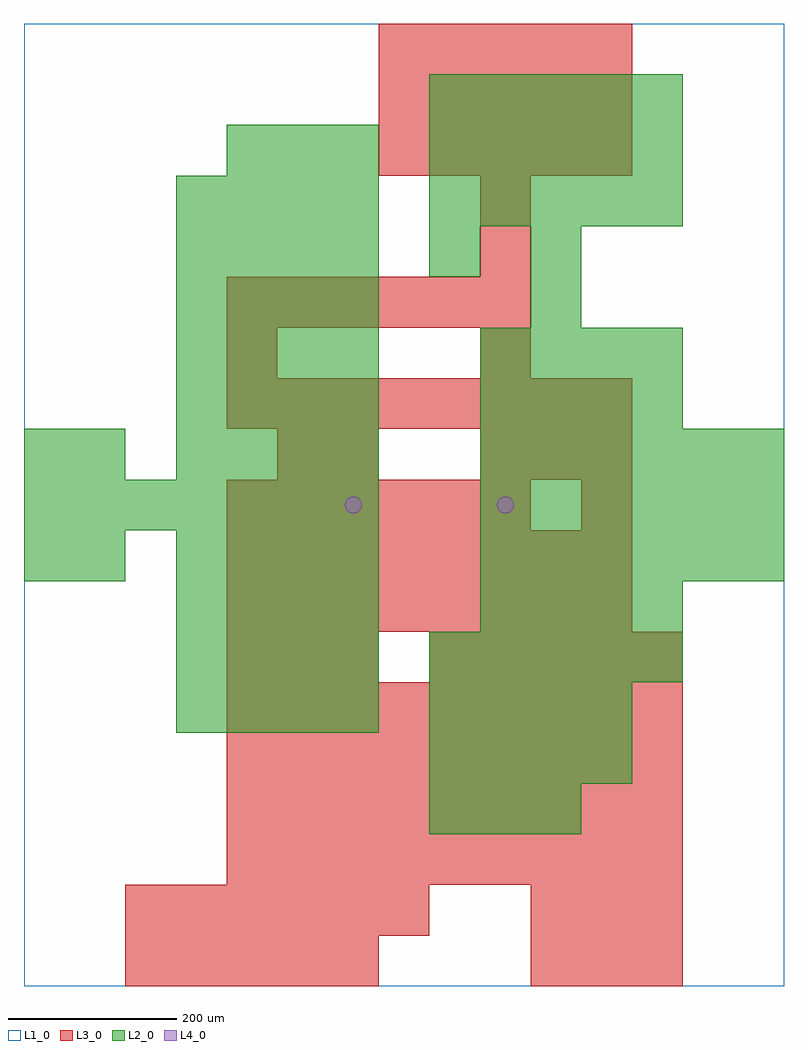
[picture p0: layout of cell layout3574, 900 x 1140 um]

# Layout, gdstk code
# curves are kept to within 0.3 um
import gdstk
lib = gdstk.Library(unit=1e-6, precision=1e-09)
def R(c, l, rs):  # rectangles x0, y0, x1, y1
    for r in rs: c.add(gdstk.rectangle(r[:2], r[2:], *l))
def A(c, l, x, y, w, h, nx, ny, dx, dy):  # array of equal rectangles
    R(c, l, [(x+i*dx, y+j*dy, x+i*dx+w, y+j*dy+h) for i in range(nx) for j in range(ny)])
def P(c, l, *ps):  # polygons
    for p in ps: c.add(gdstk.Polygon(p, *l))
L1_0 = (1, 0)
L2_0 = (2, 0)
L3_0 = (3, 0)
L4_0 = (4, 0)

layout3574 = lib.new_cell('layout3574')
R(layout3574, L1_0, [(0,0,900,1140)])
A(layout3574, L2_0, 480, 180, 60, 60, 3, 1, 60, 0)
A(layout3574, L2_0, 480, 240, 60, 60, 4, 2, 60, 60)
A(layout3574, L2_0, 180, 300, 60, 60, 4, 4, 60, 60)
A(layout3574, L2_0, 480, 360, 60, 60, 5, 2, 60, 540)
A(layout3574, L2_0, 540, 420, 60, 60, 4, 2, 60, 240)
A(layout3574, L2_0, 540, 480, 60, 60, 6, 3, 60, 60)
A(layout3574, L2_0, 0, 540, 60, 60, 7, 1, 60, 0)
A(layout3574, L2_0, 180, 600, 60, 60, 4, 6, 60, 60)
A(layout3574, L2_0, 540, 720, 60, 60, 4, 1, 60, 0)
A(layout3574, L2_0, 240, 960, 60, 60, 3, 1, 60, 0)
A(layout3574, L2_0, 480, 960, 60, 60, 5, 2, 60, 60)
R(layout3574, L2_0, [(0,480,60,540), (60,480,120,540), (0,600,60,660), (60,600,120,660), (600,780,660,840), (480,840,540,900), (600,840,660,900)])
A(layout3574, L3_0, 120, 0, 60, 60, 5, 1, 60, 0)
A(layout3574, L3_0, 600, 0, 60, 60, 3, 2, 60, 60)
A(layout3574, L3_0, 120, 60, 60, 60, 6, 1, 60, 0)
A(layout3574, L3_0, 240, 120, 60, 60, 9, 4, 60, 60)
A(layout3574, L3_0, 240, 360, 60, 60, 3, 1, 60, 0)
A(layout3574, L3_0, 480, 360, 60, 60, 5, 1, 60, 0)
A(layout3574, L3_0, 240, 420, 60, 60, 8, 2, 60, 60)
A(layout3574, L3_0, 240, 540, 60, 60, 6, 2, 60, 240)
A(layout3574, L3_0, 540, 600, 60, 60, 3, 1, 60, 0)
A(layout3574, L3_0, 240, 660, 60, 60, 8, 1, 60, 0)
A(layout3574, L3_0, 420, 960, 60, 60, 5, 3, 60, 60)
R(layout3574, L3_0, [(660,540,720,600), (300,600,360,660), (360,600,420,660), (240,720,300,780), (540,720,600,780), (540,840,600,900), (540,900,600,960)])
P(layout3574, L4_0, [(400,570),(399.239,573.827),(397.071,577.071),(393.827,579.239),(390,580),(386.173,579.239),(382.929,577.071),(380.761,573.827),(380,570),(380.761,566.173),(382.929,562.929),(386.173,560.761),(390,560),(393.827,560.761),(397.071,562.929),(399.239,566.173)],
  [(580,570),(579.239,573.827),(577.071,577.071),(573.827,579.239),(570,580),(566.173,579.239),(562.929,577.071),(560.761,573.827),(560,570),(560.761,566.173),(562.929,562.929),(566.173,560.761),(570,560),(573.827,560.761),(577.071,562.929),(579.239,566.173)])

lib.write_gds('layout3574.gds')
